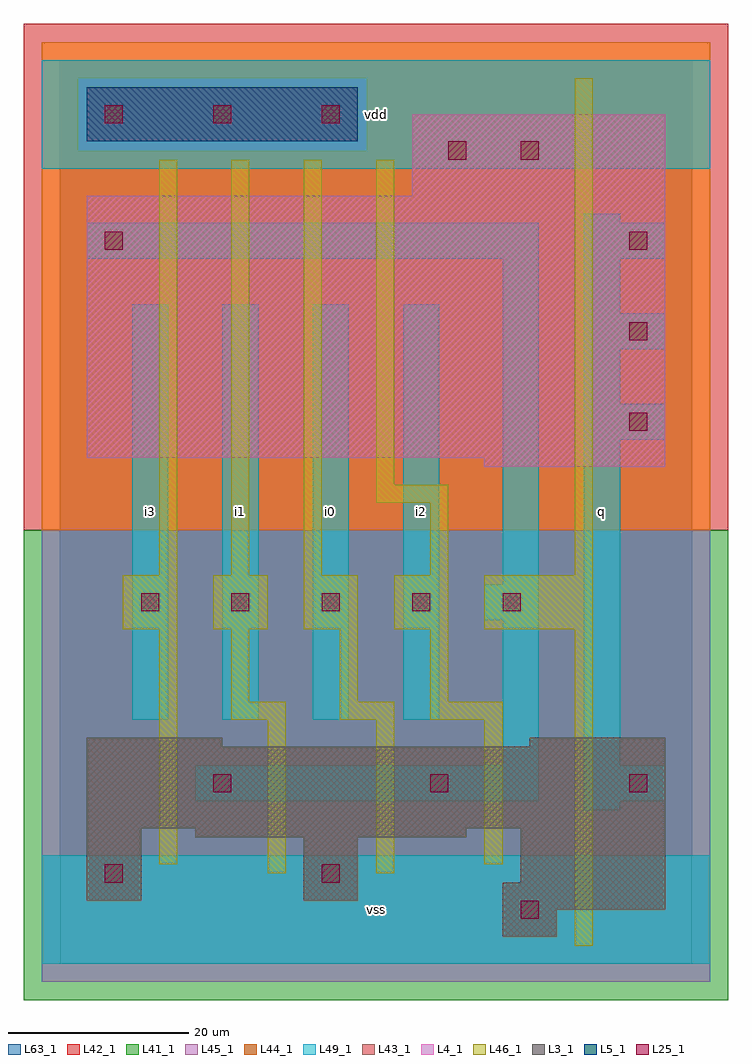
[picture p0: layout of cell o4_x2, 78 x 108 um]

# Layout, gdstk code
import gdstk
lib = gdstk.Library(unit=1e-6, precision=1e-09)
def R(c, l, rs):  # rectangles x0, y0, x1, y1
    for r in rs: c.add(gdstk.rectangle(r[:2], r[2:], *l))
def A(c, l, x, y, w, h, nx, ny, dx, dy):  # array of equal rectangles
    R(c, l, [(x+i*dx, y+j*dy, x+i*dx+w, y+j*dy+h) for i in range(nx) for j in range(ny)])
L3_1 = (3, 1)
L4_1 = (4, 1)
L5_1 = (5, 1)
L25_1 = (25, 1)
L41_1 = (41, 1)
L42_1 = (42, 1)
L43_1 = (43, 1)
L44_1 = (44, 1)
L45_1 = (45, 1)
L46_1 = (46, 1)
L49_1 = (49, 1)
L63_1 = (63, 1)

o4_x2 = lib.new_cell('o4_x2')
R(o4_x2, L3_1, [(49,3,55,6), (49,6,67,9), (3,7,9,15), (27,7,33,14), (51,9,67,15), (15,14,45,15), (3,15,67,24), (3,24,18,25), (52,24,67,25)])
R(o4_x2, L4_1, [(47,55,67,56), (3,56,67,85), (39,85,67,94)])
R(o4_x2, L5_1, [(3,91,33,97)])
A(o4_x2, L25_1, 9, 39, 2, 2, 5, 1, 10, 0)
A(o4_x2, L25_1, 63, 59, 2, 2, 1, 3, 0, 10)
A(o4_x2, L25_1, 5, 93, 2, 2, 3, 1, 12, 0)
R(o4_x2, L25_1, [(51,5,53,7), (5,9,7,11), (29,9,31,11), (17,19,19,21), (41,19,43,21), (63,19,65,21), (5,79,7,81), (43,89,45,91), (51,89,53,91)])
R(o4_x2, L41_1, [(-4,-4,74,48)])
R(o4_x2, L42_1, [(-4,48,74,104)])
R(o4_x2, L43_1, [(49,3,55,6), (49,6,67,9), (3,7,9,15), (27,7,33,14), (51,9,67,15), (15,14,45,15), (3,15,67,24), (3,24,18,25), (52,24,67,25), (47,55,67,56), (3,56,67,85), (39,85,67,94), (3,91,33,97)])
R(o4_x2, L44_1, [(-2,48,72,90), (-2,90,2,98), (34,90,72,98), (-2,98,72,102)])
R(o4_x2, L45_1, [(-2,-2,72,48), (2,90,34,98)])
A(o4_x2, L46_1, 7, 37, 6, 6, 4, 1, 10, 0)
A(o4_x2, L46_1, 11, 43, 2, 46, 3, 1, 8, 0)
R(o4_x2, L46_1, [(57,2,59,37), (23,10,25,27), (35,10,37,27), (11,11,13,37), (47,11,49,27), (19,27,25,29), (31,27,37,29), (41,27,49,29), (19,29,21,37), (31,29,33,37), (41,29,43,37), (47,37,59,43), (41,43,43,51), (57,43,59,98), (35,51,43,53), (35,53,37,89)])
A(o4_x2, L49_1, 8, 27, 4, 46, 4, 1, 10, 0)
A(o4_x2, L49_1, 58, 58, 9, 4, 1, 3, 0, 10)
R(o4_x2, L49_1, [(-2,0,72,12), (58,17,62,18), (15,18,53,22), (58,18,67,22), (49,22,53,38), (58,22,62,58), (47,38,53,42), (49,42,53,78), (58,62,62,68), (58,72,62,78), (3,78,53,82), (58,82,62,83), (-2,88,72,100)])
R(o4_x2, L63_1, [(0,0,70,100)])
o4_x2.add(gdstk.Label('i3', (10,50), layer=49, texttype=1))
o4_x2.add(gdstk.Label('i0', (30,50), layer=49, texttype=1))
o4_x2.add(gdstk.Label('i1', (20,50), layer=49, texttype=1))
o4_x2.add(gdstk.Label('vss', (35,6), layer=49, texttype=1))
o4_x2.add(gdstk.Label('i2', (40,50), layer=49, texttype=1))
o4_x2.add(gdstk.Label('vdd', (35,94), layer=49, texttype=1))
o4_x2.add(gdstk.Label('q', (60,50), layer=49, texttype=1))

lib.write_gds('o4_x2.gds')
